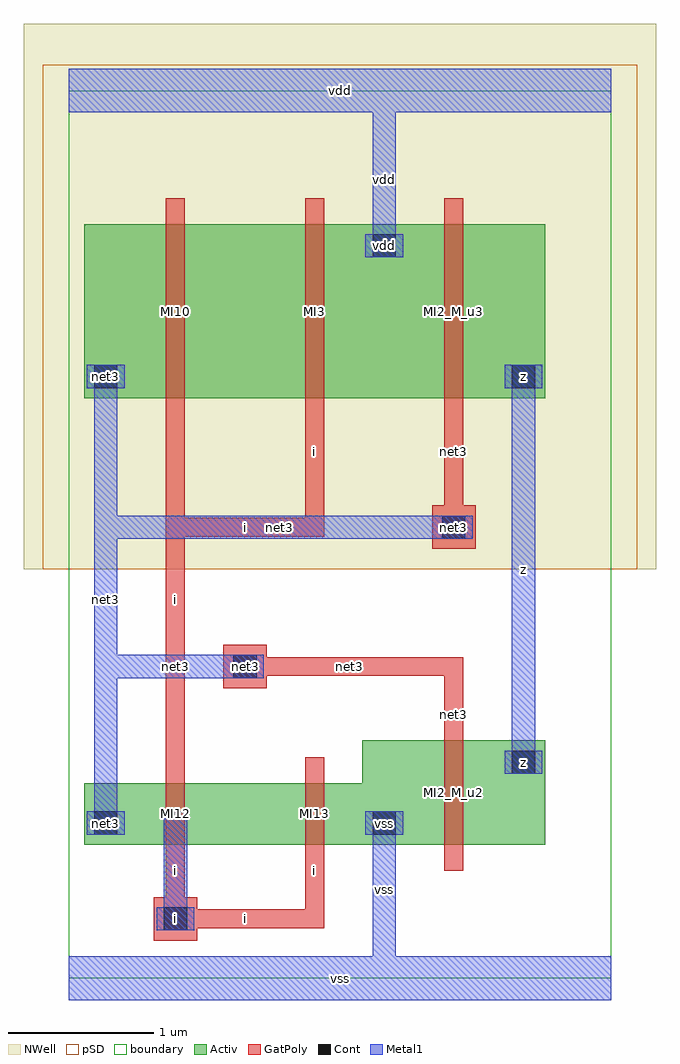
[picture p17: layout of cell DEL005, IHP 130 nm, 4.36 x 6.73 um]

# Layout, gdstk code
import gdstk
lib = gdstk.Library(unit=1e-6, precision=1e-09)
def R(c, l, rs):  # rectangles x0, y0, x1, y1
    for r in rs: c.add(gdstk.rectangle(r[:2], r[2:], *l))
def A(c, l, x, y, w, h, nx, ny, dx, dy):  # array of equal rectangles
    R(c, l, [(x+i*dx, y+j*dy, x+i*dx+w, y+j*dy+h) for i in range(nx) for j in range(ny)])
Activ = (1, 0)
GatPoly = (5, 0)
Cont = (6, 0)
Metal1 = (8, 0)
pSD = (14, 0)
NWell = (31, 0)
TEXT = (63, 0)
boundary = (189, 4)

del005 = lib.new_cell('DEL005')
A(del005, Activ, 0.105, 4, 1.26, 1.2, 3, 1, 0.96, 0)
R(del005, Activ, [(0.105,0.92,1.365,1.345), (0.105,0.92,0.405,1.22), (1.065,0.92,2.325,1.345), (2.025,0.92,3.285,1.64), (2.025,0.92,2.325,1.22), (2.985,1.34,3.285,1.64), (0.105,4,0.405,4.3), (2.985,4,3.285,4.3), (2.025,4.9,2.325,5.2)])
A(del005, GatPoly, 0.67, 3.82, 0.13, 1.56, 3, 1, 0.96, 0)
R(del005, GatPoly, [(0.585,0.26,0.885,0.56), (0.67,0.345,0.8,1.135), (0.67,0.345,1.76,0.475), (1.63,0.345,1.76,1.135), (0.67,0.74,0.8,1.525), (1.63,0.74,1.76,1.525), (2.59,0.74,2.72,1.82), (0.67,1.005,0.8,4.215), (2.59,1.425,2.72,2.215), (1.065,2,1.365,2.3), (1.15,2.085,2.72,2.215), (2.505,2.96,2.805,3.26), (0.67,3.045,1.76,3.175), (1.63,3.045,1.76,4.215), (2.59,3.045,2.72,4.215)])
R(del005, Cont, [(0.655,0.33,0.815,0.49), (0.175,0.99,0.335,1.15), (2.095,0.99,2.255,1.15), (3.055,1.41,3.215,1.57), (1.135,2.07,1.295,2.23), (2.575,3.03,2.735,3.19), (0.175,4.07,0.335,4.23), (3.055,4.07,3.215,4.23), (2.095,4.97,2.255,5.13)])
R(del005, Metal1, [(0,-0.15,3.74,0.15), (2.095,0.07,2.255,1.15), (0.605,0.33,0.865,0.49), (0.655,0.33,0.815,1.15), (0.125,0.99,0.385,1.15), (0.175,0.99,0.335,4.23), (2.045,0.99,2.305,1.15), (3.005,1.41,3.265,1.57), (3.055,1.41,3.215,4.23), (0.175,2.07,1.295,2.23), (1.085,2.07,1.345,2.23), (0.175,3.03,2.735,3.19), (2.525,3.03,2.785,3.19), (0.125,4.07,0.385,4.23), (3.005,4.07,3.265,4.23), (2.045,4.97,2.305,5.13), (2.095,4.97,2.255,6.05), (0,5.97,3.74,6.27)])
R(del005, pSD, [(-0.18,2.82,3.92,5.94), (-0.18,5.94,3.92,6.3)])
R(del005, NWell, [(-0.31,2.82,4.05,6.58)])
R(del005, boundary, [(0,0,3.74,6.12)])
del005.add(gdstk.FlexPath([(0.105,0.41),(3.285,0.41)], 0, ends="flush", simple_path=True, layer=63, datatype=0))  # TEXT
del005.add(gdstk.FlexPath([(0.105,1.07),(3.285,1.07)], 0, ends="flush", simple_path=True, layer=63, datatype=0))  # TEXT
del005.add(gdstk.FlexPath([(0.105,1.49),(3.285,1.49)], 0, ends="flush", simple_path=True, layer=63, datatype=0))  # TEXT
del005.add(gdstk.FlexPath([(0.105,2.15),(3.285,2.15)], 0, ends="flush", simple_path=True, layer=63, datatype=0))  # TEXT
del005.add(gdstk.FlexPath([(0.105,2.63),(3.285,2.63)], 0, ends="flush", simple_path=True, layer=63, datatype=0))  # TEXT
del005.add(gdstk.FlexPath([(0.105,3.11),(3.285,3.11)], 0, ends="flush", simple_path=True, layer=63, datatype=0))  # TEXT
del005.add(gdstk.FlexPath([(0.105,4.15),(3.285,4.15)], 0, ends="flush", simple_path=True, layer=63, datatype=0))  # TEXT
del005.add(gdstk.FlexPath([(0.105,4.71),(3.285,4.71)], 0, ends="flush", simple_path=True, layer=63, datatype=0))  # TEXT
del005.add(gdstk.FlexPath([(0.105,5.05),(3.285,5.05)], 0, ends="flush", simple_path=True, layer=63, datatype=0))  # TEXT
del005.add(gdstk.FlexPath([(0.105,5.71),(3.285,5.71)], 0, ends="flush", simple_path=True, layer=63, datatype=0))  # TEXT
del005.add(gdstk.FlexPath([(0.255,0.07),(0.255,6.05)], 0, ends="flush", simple_path=True, layer=63, datatype=0))  # TEXT
del005.add(gdstk.FlexPath([(0.735,0.07),(0.735,6.05)], 0, ends="flush", simple_path=True, layer=63, datatype=0))  # TEXT
del005.add(gdstk.FlexPath([(1.215,0.07),(1.215,6.05)], 0, ends="flush", simple_path=True, layer=63, datatype=0))  # TEXT
del005.add(gdstk.FlexPath([(1.695,0.07),(1.695,6.05)], 0, ends="flush", simple_path=True, layer=63, datatype=0))  # TEXT
del005.add(gdstk.FlexPath([(2.175,0.07),(2.175,6.05)], 0, ends="flush", simple_path=True, layer=63, datatype=0))  # TEXT
del005.add(gdstk.FlexPath([(2.655,0.07),(2.655,6.05)], 0, ends="flush", simple_path=True, layer=63, datatype=0))  # TEXT
del005.add(gdstk.FlexPath([(3.135,0.07),(3.135,6.05)], 0, ends="flush", simple_path=True, layer=63, datatype=0))  # TEXT
del005.add(gdstk.Label('net3', (0.255,1.07), layer=6, texttype=0))
del005.add(gdstk.Label('net3', (0.255,4.15), layer=6, texttype=0))
del005.add(gdstk.Label('net3', (2.655,3.11), layer=6, texttype=0))
del005.add(gdstk.Label('net3', (1.215,2.15), layer=6, texttype=0))
del005.add(gdstk.Label('i', (0.735,0.41), layer=6, texttype=0))
del005.add(gdstk.Label('z', (3.135,1.49), layer=6, texttype=0))
del005.add(gdstk.Label('z', (3.135,4.15), layer=6, texttype=0))
del005.add(gdstk.Label('vss', (2.175,1.07), layer=6, texttype=0))
del005.add(gdstk.Label('vdd', (2.175,5.05), layer=6, texttype=0))
del005.add(gdstk.Label('net3', (0.255,1.07), layer=8, texttype=0))
del005.add(gdstk.Label('net3', (0.255,4.15), layer=8, texttype=0))
del005.add(gdstk.Label('net3', (0.255,2.61), layer=8, texttype=0))
del005.add(gdstk.Label('net3', (1.455,3.11), layer=8, texttype=0))
del005.add(gdstk.Label('net3', (2.655,3.11), layer=8, texttype=0))
del005.add(gdstk.Label('net3', (1.215,2.15), layer=8, texttype=0))
del005.add(gdstk.Label('net3', (0.735,2.15), layer=8, texttype=0))
del005.add(gdstk.Label('vss', (2.175,1.07), layer=8, texttype=0))
del005.add(gdstk.Label('vss', (2.175,0.61), layer=8, texttype=0))
del005.add(gdstk.Label('vdd', (2.175,5.05), layer=8, texttype=0))
del005.add(gdstk.Label('vdd', (2.175,5.51), layer=8, texttype=0))
del005.add(gdstk.Label('i', (0.735,0.41), layer=8, texttype=2))
del005.add(gdstk.Label('i', (0.735,0.74), layer=8, texttype=2))
del005.add(gdstk.Label('z', (3.135,1.49), layer=8, texttype=2))
del005.add(gdstk.Label('z', (3.135,4.15), layer=8, texttype=2))
del005.add(gdstk.Label('z', (3.135,2.82), layer=8, texttype=2))
del005.add(gdstk.Label('vss', (1.87,0), layer=8, texttype=2))
del005.add(gdstk.Label('vdd', (1.87,6.12), layer=8, texttype=2))
del005.add(gdstk.Label('i', (0.735,0.41), layer=8, texttype=2))
del005.add(gdstk.Label('i', (0.735,0.74), layer=8, texttype=2))
del005.add(gdstk.Label('z', (3.135,1.49), layer=8, texttype=2))
del005.add(gdstk.Label('z', (3.135,4.15), layer=8, texttype=2))
del005.add(gdstk.Label('z', (3.135,2.82), layer=8, texttype=2))
del005.add(gdstk.Label('vss', (1.87,0), layer=8, texttype=2))
del005.add(gdstk.Label('vdd', (1.87,6.12), layer=8, texttype=2))
del005.add(gdstk.Label('MI12', (0.735,1.133), layer=1, texttype=0))
del005.add(gdstk.Label('MI13', (1.695,1.133), layer=1, texttype=0))
del005.add(gdstk.Label('MI2_M_u2', (2.655,1.28), layer=1, texttype=0))
del005.add(gdstk.Label('MI10', (0.735,4.6), layer=1, texttype=0))
del005.add(gdstk.Label('MI3', (1.695,4.6), layer=1, texttype=0))
del005.add(gdstk.Label('MI2_M_u3', (2.655,4.6), layer=1, texttype=0))
del005.add(gdstk.Label('net3', (0.255,1.07), layer=1, texttype=0))
del005.add(gdstk.Label('net3', (0.255,4.15), layer=1, texttype=0))
del005.add(gdstk.Label('z', (3.135,1.49), layer=1, texttype=0))
del005.add(gdstk.Label('z', (3.135,4.15), layer=1, texttype=0))
del005.add(gdstk.Label('vss', (2.175,1.07), layer=1, texttype=0))
del005.add(gdstk.Label('vdd', (2.175,5.05), layer=1, texttype=0))
del005.add(gdstk.Label('i', (0.735,0.41), layer=8, texttype=25))
del005.add(gdstk.Label('i', (0.735,0.74), layer=8, texttype=25))
del005.add(gdstk.Label('z', (3.135,1.49), layer=8, texttype=25))
del005.add(gdstk.Label('z', (3.135,4.15), layer=8, texttype=25))
del005.add(gdstk.Label('z', (3.135,2.82), layer=8, texttype=25))
del005.add(gdstk.Label('vss', (1.87,0), layer=8, texttype=25))
del005.add(gdstk.Label('vdd', (1.87,6.12), layer=8, texttype=25))
del005.add(gdstk.Label('net3', (2.655,3.11), layer=5, texttype=0))
del005.add(gdstk.Label('net3', (2.655,3.63), layer=5, texttype=0))
del005.add(gdstk.Label('net3', (2.655,1.82), layer=5, texttype=0))
del005.add(gdstk.Label('net3', (1.935,2.15), layer=5, texttype=0))
del005.add(gdstk.Label('net3', (1.215,2.15), layer=5, texttype=0))
del005.add(gdstk.Label('i', (0.735,0.74), layer=5, texttype=0))
del005.add(gdstk.Label('i', (1.215,0.41), layer=5, texttype=0))
del005.add(gdstk.Label('i', (1.695,0.74), layer=5, texttype=0))
del005.add(gdstk.Label('i', (0.735,2.61), layer=5, texttype=0))
del005.add(gdstk.Label('i', (1.215,3.11), layer=5, texttype=0))
del005.add(gdstk.Label('i', (1.695,3.63), layer=5, texttype=0))
del005.add(gdstk.Label('i', (0.735,0.41), layer=5, texttype=0))

lib.write_gds('DEL005.gds')
